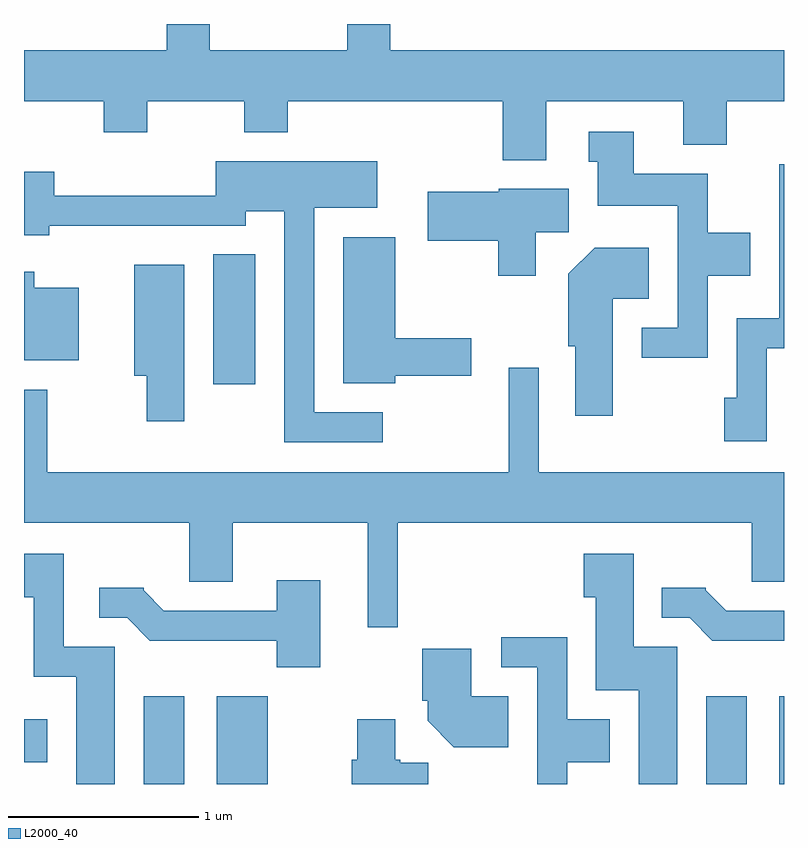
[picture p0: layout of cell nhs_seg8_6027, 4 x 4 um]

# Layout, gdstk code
import gdstk
lib = gdstk.Library(unit=1e-6, precision=1e-09)
def R(c, l, rs):  # rectangles x0, y0, x1, y1
    for r in rs: c.add(gdstk.rectangle(r[:2], r[2:], *l))
def P(c, l, *ps):  # polygons
    for p in ps: c.add(gdstk.Polygon(p, *l))
L2000_40 = (2000, 40)

nhs_seg8_6027 = lib.new_cell('nhs_seg8_6027')
R(nhs_seg8_6027, L2000_40, [(366.241,1868.342,366.454,1868.804), (366.626,1868.342,366.894,1868.804), (369.201,1868.342,369.414,1868.804), (369.586,1868.342,369.611,1868.804), (365.611,1868.456,365.734,1868.684), (366.606,1870.446,366.829,1871.129)])
P(nhs_seg8_6027, L2000_40, [(368.359,1871.936),(369.081,1871.936),(369.081,1871.706),(369.309,1871.706),(369.309,1871.936),(369.611,1871.936),(369.611,1872.204),(367.539,1872.204),(367.539,1872.342),(367.311,1872.342),(367.311,1872.204),(366.589,1872.204),(366.589,1872.342),(366.361,1872.342),(366.361,1872.204),(365.611,1872.204),(365.611,1871.936),(366.031,1871.936),(366.031,1871.771),(366.259,1871.771),(366.259,1871.936),(366.771,1871.936),(366.771,1871.771),(366.999,1871.771),(366.999,1871.936),(368.131,1871.936),(368.131,1871.626),(368.359,1871.626)],
  [(369.209,1871.016),(369.434,1871.016),(369.434,1871.244),(369.209,1871.244),(369.209,1871.554),(368.819,1871.554),(368.819,1871.774),(368.583,1871.774),(368.583,1871.616),(368.631,1871.616),(368.631,1871.386),(369.051,1871.386),(369.051,1870.744),(368.863,1870.744),(368.863,1870.586),(369.209,1870.586)],
  [(367.498,1870.299),(367.139,1870.299),(367.139,1871.376),(367.469,1871.376),(367.469,1871.619),(366.621,1871.619),(366.621,1871.439),(365.769,1871.439),(365.769,1871.564),(365.611,1871.564),(365.611,1871.231),(365.744,1871.231),(365.744,1871.281),(366.779,1871.281),(366.779,1871.356),(366.981,1871.356),(366.981,1870.141),(367.498,1870.141)],
  [(369.519,1870.636),(369.611,1870.636),(369.611,1871.604),(369.586,1871.604),(369.586,1870.794),(369.361,1870.794),(369.361,1870.374),(369.296,1870.374),(369.296,1870.146),(369.519,1870.146)],
  [(368.304,1871.246),(368.479,1871.246),(368.479,1871.474),(368.11,1871.474),(368.11,1871.459),(367.736,1871.459),(367.736,1871.201),(368.106,1871.201),(368.106,1871.016),(368.304,1871.016)],
  [(367.564,1870.491),(367.964,1870.491),(367.964,1870.689),(367.564,1870.689),(367.564,1871.219),(367.291,1871.219),(367.291,1870.451),(367.564,1870.451)],
  [(368.709,1870.896),(368.899,1870.896),(368.899,1871.164),(368.614,1871.164),(368.476,1871.027),(368.476,1870.646),(368.511,1870.646),(368.511,1870.281),(368.709,1870.281)],
  [(366.454,1871.074),(366.191,1871.074),(366.191,1870.491),(366.256,1870.491),(366.256,1870.251),(366.454,1870.251)],
  [(365.899,1870.954),(365.664,1870.954),(365.664,1871.039),(365.611,1871.039),(365.611,1870.571),(365.899,1870.571)],
  [(367.579,1869.716),(369.441,1869.716),(369.441,1869.406),(369.611,1869.406),(369.611,1869.984),(368.319,1869.984),(368.319,1870.533),(368.161,1870.533),(368.161,1869.984),(365.734,1869.984),(365.734,1870.418),(365.611,1870.418),(365.611,1869.716),(366.481,1869.716),(366.481,1869.406),(366.709,1869.406),(366.709,1869.716),(367.421,1869.716),(367.421,1869.168),(367.579,1869.168)],
  [(369.049,1869.064),(368.819,1869.064),(368.819,1869.554),(368.556,1869.554),(368.556,1869.326),(368.621,1869.326),(368.621,1868.836),(368.846,1868.836),(368.846,1868.342),(369.049,1868.342)],
  [(366.089,1869.064),(365.819,1869.064),(365.819,1869.554),(365.611,1869.554),(365.611,1869.326),(365.661,1869.326),(365.661,1868.906),(365.886,1868.906),(365.886,1868.342),(366.089,1868.342)],
  [(367.169,1869.414),(366.941,1869.414),(366.941,1869.254),(366.347,1869.254),(366.24,1869.361),(366.24,1869.374),(366.008,1869.374),(366.008,1869.216),(366.154,1869.216),(366.274,1869.096),(366.941,1869.096),(366.941,1868.956),(367.169,1868.956)],
  [(369.611,1869.254),(369.307,1869.254),(369.2,1869.361),(369.2,1869.374),(368.968,1869.374),(368.968,1869.216),(369.114,1869.216),(369.234,1869.096),(369.611,1869.096)],
  [(368.469,1868.456),(368.694,1868.456),(368.694,1868.684),(368.469,1868.684),(368.469,1869.114),(368.123,1869.114),(368.123,1868.956),(368.311,1868.956),(368.311,1868.342),(368.469,1868.342)],
  [(368.159,1868.804),(367.964,1868.804),(367.964,1869.054),(367.706,1869.054),(367.706,1868.781),(367.736,1868.781),(367.736,1868.674),(367.874,1868.536),(368.159,1868.536)],
  [(367.739,1868.454),(367.59,1868.454),(367.59,1868.469),(367.564,1868.469),(367.564,1868.684),(367.366,1868.684),(367.366,1868.469),(367.336,1868.469),(367.336,1868.342),(367.739,1868.342)])

lib.write_gds('nhs_seg8_6027.gds')
